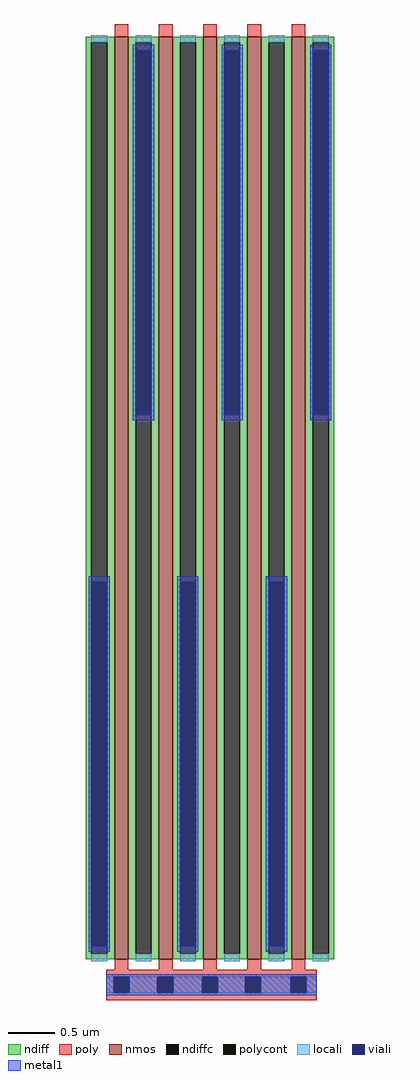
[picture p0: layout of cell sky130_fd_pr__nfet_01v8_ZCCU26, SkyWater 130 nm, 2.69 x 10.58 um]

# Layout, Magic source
magic
tech sky130A
magscale 1 2
<< nmos >>
rect -207 -1000 -177 1000
rect -111 -1000 -81 1000
rect -15 -1000 15 1000
rect 81 -1000 111 1000
rect 177 -1000 207 1000
<< ndiff >>
rect -269 988 -207 1000
rect -269 -988 -257 988
rect -223 -988 -207 988
rect -269 -1000 -207 -988
rect -177 988 -111 1000
rect -177 -988 -161 988
rect -127 -988 -111 988
rect -177 -1000 -111 -988
rect -81 988 -15 1000
rect -81 -988 -65 988
rect -31 -988 -15 988
rect -81 -1000 -15 -988
rect 15 988 81 1000
rect 15 -988 31 988
rect 65 -988 81 988
rect 15 -1000 81 -988
rect 111 988 177 1000
rect 111 -988 127 988
rect 161 -988 177 988
rect 111 -1000 177 -988
rect 207 988 269 1000
rect 207 -988 223 988
rect 257 -988 269 988
rect 207 -1000 269 -988
<< ndiffc >>
rect -257 -988 -223 988
rect -161 -988 -127 988
rect -65 -988 -31 988
rect 31 -988 65 988
rect 127 -988 161 988
rect 223 -988 257 988
<< poly >>
rect -207 1000 -177 1028
rect -111 1000 -81 1028
rect -15 1000 15 1028
rect 81 1000 111 1028
rect 177 1000 207 1028
rect -207 -1022 -177 -1000
rect -111 -1022 -81 -1000
rect -15 -1022 15 -1000
rect 81 -1022 111 -1000
rect 177 -1022 207 -1000
rect -225 -1038 231 -1022
rect -225 -1072 -209 -1038
rect -175 -1072 -114 -1038
rect -80 -1072 -17 -1038
rect 17 -1072 76 -1038
rect 110 -1072 175 -1038
rect 209 -1072 231 -1038
rect -225 -1088 231 -1072
<< polycont >>
rect -209 -1072 -175 -1038
rect -114 -1072 -80 -1038
rect -17 -1072 17 -1038
rect 76 -1072 110 -1038
rect 175 -1072 209 -1038
<< locali >>
rect -257 988 -223 1004
rect -257 -1004 -223 -988
rect -161 988 -127 1004
rect -161 -1004 -127 -988
rect -65 988 -31 1004
rect -65 -1004 -31 -988
rect 31 988 65 1004
rect 31 -1004 65 -988
rect 127 988 161 1004
rect 127 -1004 161 -988
rect 223 988 257 1004
rect 223 -1004 257 -988
rect -225 -1072 -209 -1038
rect -175 -1072 -114 -1038
rect -80 -1072 -17 -1038
rect 17 -1072 76 -1038
rect 110 -1072 175 -1038
rect 209 -1072 231 -1038
<< viali >>
rect -257 -971 -223 -181
rect -161 181 -127 971
rect -65 -971 -31 -181
rect 31 181 65 971
rect 127 -971 161 -181
rect 223 181 257 971
rect -209 -1072 -175 -1038
rect -114 -1072 -80 -1038
rect -17 -1072 17 -1038
rect 76 -1072 110 -1038
rect 175 -1072 209 -1038
<< metal1 >>
rect -167 971 -121 983
rect -167 181 -161 971
rect -127 181 -121 971
rect -167 169 -121 181
rect 25 971 71 983
rect 25 181 31 971
rect 65 181 71 971
rect 25 169 71 181
rect 217 971 263 983
rect 217 181 223 971
rect 257 181 263 971
rect 217 169 263 181
rect -263 -181 -217 -169
rect -263 -971 -257 -181
rect -223 -971 -217 -181
rect -263 -983 -217 -971
rect -71 -181 -25 -169
rect -71 -971 -65 -181
rect -31 -971 -25 -181
rect -71 -983 -25 -971
rect 121 -181 167 -169
rect 121 -971 127 -181
rect 161 -971 167 -181
rect 121 -983 167 -971
rect -225 -1038 231 -1032
rect -225 -1072 -209 -1038
rect -175 -1072 -114 -1038
rect -80 -1072 -17 -1038
rect 17 -1072 76 -1038
rect 110 -1072 175 -1038
rect 209 -1072 231 -1038
rect -225 -1078 231 -1072
<< properties >>
string gencell sky130_fd_pr__nfet_01v8
string library sky130
string parameters w 10.0 l 0.15 m 1 nf 5 diffcov 100 polycov 100 guard 0 glc 1 grc 1 gtc 1 gbc 1 tbcov 100 rlcov 100 topc 1 botc 1 poverlap 0 doverlap 1 lmin 0.15 wmin 0.42 compatible {sky130_fd_pr__nfet_01v8 sky130_fd_pr__nfet_01v8_lvt  sky130_fd_bs_flash__special_sonosfet_star  sky130_fd_pr__nfet_g5v0d10v5 sky130_fd_pr__nfet_05v0_nvt  sky130_fd_pr__nfet_03v3_nvt} full_metal 0 viasrc -40 viadrn +40 viagate 100 viagb 0 viagr 0 viagl 0 viagt 0
<< end >>
